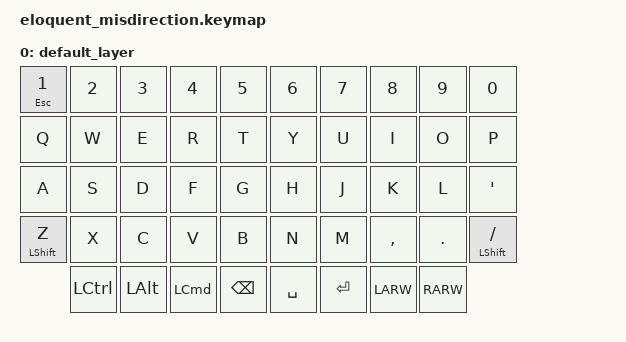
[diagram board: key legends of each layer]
#include <behaviors.dtsi>
#include <dt-bindings/zmk/keys.h>

/ {
  keymap {
    compatible = "zmk,keymap";

    default_layer {
      bindings = <
        &mt ESC N1        &kp N2     &kp N3      &kp N4          &kp N5       &kp N6           &kp N7         &kp N8      &kp N9     &kp N0
        &kp Q         &kp W      &kp E       &kp R           &kp T        &kp Y            &kp U          &kp I       &kp O      &kp P
        &kp A         &kp S      &kp D       &kp F           &kp G        &kp H            &kp J          &kp K       &kp L      &kp SQT
        &mt LSHIFT Z  &kp X      &kp C       &kp V           &kp B        &kp N            &kp M          &kp COMMA   &kp DOT    &mt LSHIFT FSLH
        &kp LCTL      &kp LALT   &kp LCMD          &kp BSPC                    &kp SPACE                  &kp RET    &kp LARW    &kp RARW
      >;
    };
  };
};
